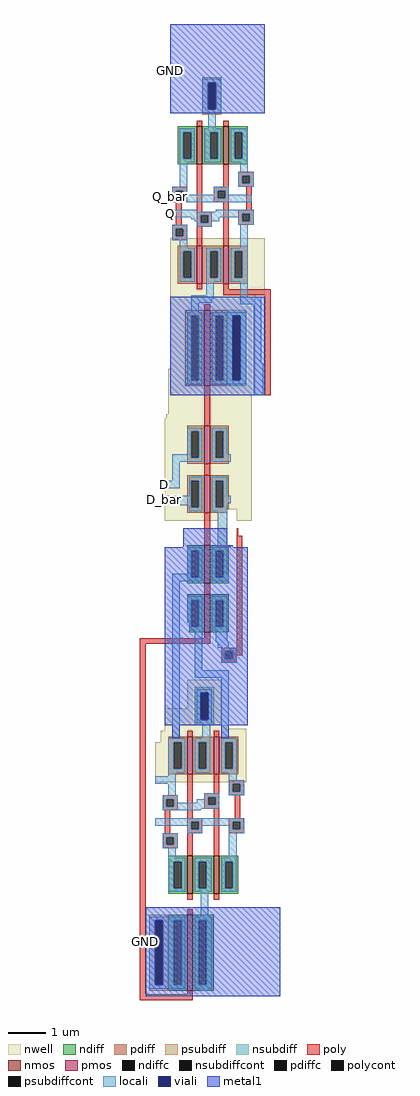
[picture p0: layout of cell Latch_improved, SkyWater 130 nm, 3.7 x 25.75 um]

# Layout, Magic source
magic
tech sky130A
<< nwell >>
rect -360 1450 -110 1600
rect -360 1255 -135 1450
rect -365 1185 -135 1255
rect -365 1135 -145 1185
rect -370 1125 -145 1135
rect -375 885 -145 1125
rect -375 855 -210 885
rect -185 855 -145 885
rect -235 785 -210 855
rect -315 360 -225 435
rect -375 315 -225 360
rect -375 305 -205 315
rect -375 300 -160 305
rect -385 270 -160 300
rect -400 165 -160 270
<< nmos >>
rect -290 1795 -275 1895
rect -220 1795 -205 1895
rect -270 690 -255 790
rect -270 560 -255 660
rect -315 -130 -300 -30
rect -245 -130 -230 -30
rect -315 -385 -300 -185
<< pmos >>
rect -290 1480 -275 1580
rect -220 1480 -205 1580
rect -270 1210 -255 1410
rect -270 1005 -255 1105
rect -270 875 -255 975
rect -315 185 -300 285
rect -245 185 -230 285
<< ndiff >>
rect -340 1880 -290 1895
rect -340 1810 -325 1880
rect -305 1810 -290 1880
rect -340 1795 -290 1810
rect -275 1880 -220 1895
rect -275 1810 -255 1880
rect -235 1810 -220 1880
rect -275 1795 -220 1810
rect -205 1880 -155 1895
rect -205 1810 -190 1880
rect -170 1810 -155 1880
rect -205 1795 -155 1810
rect -315 775 -270 790
rect -315 705 -305 775
rect -285 705 -270 775
rect -315 690 -270 705
rect -255 785 -235 790
rect -210 785 -205 790
rect -255 775 -205 785
rect -255 705 -240 775
rect -220 705 -205 775
rect -255 690 -205 705
rect -315 645 -270 660
rect -315 585 -305 645
rect -310 575 -305 585
rect -285 575 -270 645
rect -310 560 -270 575
rect -255 645 -205 660
rect -255 575 -240 645
rect -220 575 -205 645
rect -255 560 -205 575
rect -365 -45 -315 -30
rect -365 -115 -350 -45
rect -330 -115 -315 -45
rect -365 -130 -315 -115
rect -300 -45 -245 -30
rect -300 -115 -285 -45
rect -265 -115 -245 -45
rect -300 -130 -245 -115
rect -230 -45 -180 -30
rect -230 -115 -215 -45
rect -195 -115 -180 -45
rect -230 -130 -180 -115
rect -365 -200 -315 -185
rect -365 -370 -350 -200
rect -330 -370 -315 -200
rect -365 -385 -315 -370
rect -300 -200 -245 -185
rect -300 -370 -285 -200
rect -265 -370 -245 -200
rect -300 -385 -245 -370
<< pdiff >>
rect -340 1565 -290 1580
rect -340 1495 -325 1565
rect -305 1495 -290 1565
rect -340 1480 -290 1495
rect -275 1565 -220 1580
rect -275 1495 -255 1565
rect -235 1495 -220 1565
rect -275 1480 -220 1495
rect -205 1565 -155 1580
rect -205 1495 -190 1565
rect -170 1495 -155 1565
rect -205 1480 -155 1495
rect -320 1395 -270 1410
rect -320 1225 -305 1395
rect -285 1225 -270 1395
rect -320 1210 -270 1225
rect -255 1395 -210 1410
rect -255 1225 -240 1395
rect -220 1225 -210 1395
rect -255 1210 -210 1225
rect -315 1090 -270 1105
rect -315 1020 -305 1090
rect -285 1020 -270 1090
rect -315 1005 -270 1020
rect -255 1090 -205 1105
rect -255 1020 -240 1090
rect -220 1020 -205 1090
rect -255 1005 -205 1020
rect -315 960 -270 975
rect -315 890 -305 960
rect -285 890 -270 960
rect -315 875 -270 890
rect -255 960 -205 975
rect -255 890 -240 960
rect -220 890 -205 960
rect -255 885 -205 890
rect -255 875 -210 885
rect -235 785 -210 790
rect -365 270 -315 285
rect -365 200 -350 270
rect -330 200 -315 270
rect -365 185 -315 200
rect -300 270 -245 285
rect -300 200 -285 270
rect -265 200 -245 270
rect -300 185 -245 200
rect -230 270 -180 285
rect -230 200 -215 270
rect -195 200 -180 270
rect -230 185 -180 200
<< ndiffc >>
rect -325 1810 -305 1880
rect -255 1810 -235 1880
rect -190 1810 -170 1880
rect -305 705 -285 775
rect -240 705 -220 775
rect -305 575 -285 645
rect -240 575 -220 645
rect -350 -115 -330 -45
rect -285 -115 -265 -45
rect -215 -115 -195 -45
rect -350 -370 -330 -200
rect -285 -370 -265 -200
<< pdiffc >>
rect -325 1495 -305 1565
rect -255 1495 -235 1565
rect -190 1495 -170 1565
rect -305 1225 -285 1395
rect -240 1225 -220 1395
rect -305 1020 -285 1090
rect -240 1020 -220 1090
rect -305 890 -285 960
rect -240 890 -220 960
rect -350 200 -330 270
rect -285 200 -265 270
rect -215 200 -195 270
<< psubdiff >>
rect -275 2010 -225 2025
rect -275 1940 -260 2010
rect -240 1940 -225 2010
rect -275 1925 -225 1940
rect -415 -200 -365 -185
rect -415 -370 -400 -200
rect -380 -370 -365 -200
rect -415 -385 -365 -370
<< nsubdiff >>
rect -210 1395 -160 1410
rect -210 1225 -195 1395
rect -175 1225 -160 1395
rect -210 1210 -160 1225
rect -295 400 -245 415
rect -295 330 -280 400
rect -260 330 -245 400
rect -295 315 -245 330
<< psubdiffcont >>
rect -260 1940 -240 2010
rect -400 -370 -380 -200
<< nsubdiffcont >>
rect -195 1225 -175 1395
rect -280 330 -260 400
<< poly >>
rect -290 1895 -275 1910
rect -220 1895 -205 1910
rect -355 1725 -315 1735
rect -355 1705 -345 1725
rect -325 1705 -315 1725
rect -355 1695 -315 1705
rect -345 1635 -330 1695
rect -290 1670 -275 1795
rect -220 1735 -205 1795
rect -180 1765 -140 1775
rect -180 1745 -170 1765
rect -150 1745 -140 1765
rect -180 1735 -140 1745
rect -245 1725 -205 1735
rect -245 1705 -235 1725
rect -215 1705 -205 1725
rect -245 1695 -205 1705
rect -290 1660 -250 1670
rect -290 1640 -280 1660
rect -260 1640 -250 1660
rect -355 1625 -315 1635
rect -355 1605 -345 1625
rect -325 1605 -315 1625
rect -355 1595 -315 1605
rect -290 1630 -250 1640
rect -290 1580 -275 1630
rect -220 1580 -205 1695
rect -160 1675 -145 1735
rect -180 1665 -140 1675
rect -180 1645 -170 1665
rect -150 1645 -140 1665
rect -180 1635 -140 1645
rect -290 1465 -275 1480
rect -220 1465 -205 1480
rect -220 1450 -95 1465
rect -270 1410 -255 1425
rect -270 1105 -255 1210
rect -110 1185 -95 1450
rect -270 975 -255 1005
rect -270 790 -255 875
rect -185 815 -180 835
rect -270 660 -255 690
rect -270 545 -255 560
rect -440 530 -255 545
rect -440 -395 -425 530
rect -185 520 -170 815
rect -225 510 -170 520
rect -225 490 -215 510
rect -195 500 -170 510
rect -195 490 -185 500
rect -225 480 -185 490
rect -315 285 -300 300
rect -245 285 -230 300
rect -380 120 -340 130
rect -380 100 -370 120
rect -350 100 -340 120
rect -380 90 -340 100
rect -375 30 -360 90
rect -315 70 -300 185
rect -245 135 -230 185
rect -270 125 -230 135
rect -205 160 -165 170
rect -205 140 -195 160
rect -175 140 -165 160
rect -205 130 -165 140
rect -270 105 -260 125
rect -240 105 -230 125
rect -270 95 -230 105
rect -315 60 -275 70
rect -315 40 -305 60
rect -285 40 -275 60
rect -315 30 -275 40
rect -380 20 -340 30
rect -380 0 -370 20
rect -350 0 -340 20
rect -380 -10 -340 0
rect -315 -30 -300 30
rect -245 -30 -230 95
rect -190 70 -175 130
rect -205 60 -165 70
rect -205 40 -195 60
rect -175 40 -165 60
rect -205 30 -165 40
rect -315 -145 -300 -130
rect -245 -145 -230 -130
rect -315 -185 -300 -170
rect -315 -395 -300 -385
rect -440 -410 -300 -395
<< polycont >>
rect -345 1705 -325 1725
rect -170 1745 -150 1765
rect -235 1705 -215 1725
rect -280 1640 -260 1660
rect -345 1605 -325 1625
rect -170 1645 -150 1665
rect -215 490 -195 510
rect -370 100 -350 120
rect -195 140 -175 160
rect -260 105 -240 125
rect -305 40 -285 60
rect -370 0 -350 20
rect -195 40 -175 60
<< locali >>
rect -275 2010 -225 2020
rect -275 1940 -260 2010
rect -240 1940 -225 2010
rect -275 1930 -225 1940
rect -260 1890 -240 1930
rect -335 1880 -295 1890
rect -335 1810 -325 1880
rect -305 1810 -295 1880
rect -335 1800 -295 1810
rect -270 1880 -225 1890
rect -270 1810 -255 1880
rect -235 1810 -225 1880
rect -270 1800 -225 1810
rect -200 1880 -155 1890
rect -200 1810 -190 1880
rect -170 1810 -155 1880
rect -200 1800 -155 1810
rect -335 1735 -315 1800
rect -175 1775 -155 1800
rect -180 1765 -140 1775
rect -180 1745 -170 1765
rect -150 1745 -140 1765
rect -180 1735 -140 1745
rect -355 1725 -315 1735
rect -355 1720 -345 1725
rect -360 1705 -345 1720
rect -325 1715 -315 1725
rect -245 1725 -205 1735
rect -245 1715 -235 1725
rect -325 1705 -235 1715
rect -215 1715 -205 1725
rect -215 1705 -145 1715
rect -360 1695 -145 1705
rect -360 1670 -290 1675
rect -240 1670 -140 1675
rect -360 1665 -140 1670
rect -360 1660 -170 1665
rect -360 1655 -280 1660
rect -305 1650 -280 1655
rect -295 1645 -280 1650
rect -290 1640 -280 1645
rect -260 1655 -170 1660
rect -260 1645 -230 1655
rect -180 1645 -170 1655
rect -150 1645 -140 1665
rect -260 1640 -250 1645
rect -355 1625 -315 1635
rect -290 1630 -250 1640
rect -180 1635 -140 1645
rect -355 1605 -345 1625
rect -325 1605 -315 1625
rect -355 1595 -315 1605
rect -335 1575 -315 1595
rect -175 1575 -155 1635
rect -335 1565 -295 1575
rect -335 1495 -325 1565
rect -305 1495 -295 1565
rect -335 1485 -295 1495
rect -265 1565 -225 1575
rect -265 1495 -255 1565
rect -235 1495 -225 1565
rect -265 1485 -225 1495
rect -200 1565 -155 1575
rect -200 1495 -190 1565
rect -170 1495 -155 1565
rect -200 1485 -155 1495
rect -265 1450 -245 1485
rect -305 1440 -245 1450
rect -175 1445 -155 1485
rect -305 1430 -250 1440
rect -305 1405 -285 1430
rect -175 1425 -120 1445
rect -315 1395 -275 1405
rect -315 1225 -305 1395
rect -285 1225 -275 1395
rect -315 1215 -275 1225
rect -250 1395 -160 1405
rect -250 1225 -240 1395
rect -220 1225 -195 1395
rect -175 1225 -160 1395
rect -250 1215 -160 1225
rect -140 1270 -120 1425
rect -140 1185 -115 1270
rect -315 1090 -275 1100
rect -315 1030 -305 1090
rect -355 1020 -305 1030
rect -285 1020 -275 1090
rect -355 1010 -275 1020
rect -250 1090 -210 1100
rect -250 1020 -240 1090
rect -220 1030 -210 1090
rect -220 1020 -200 1030
rect -250 1010 -200 1020
rect -355 960 -335 1010
rect -375 940 -335 960
rect -310 960 -275 970
rect -310 920 -305 960
rect -375 900 -305 920
rect -335 895 -305 900
rect -310 890 -305 895
rect -285 890 -275 960
rect -310 880 -275 890
rect -250 960 -210 970
rect -250 890 -240 960
rect -220 920 -210 960
rect -220 900 -200 920
rect -220 890 -210 900
rect -250 880 -210 890
rect -235 790 -210 880
rect -235 785 -200 790
rect -315 775 -275 785
rect -315 715 -305 775
rect -355 705 -305 715
rect -285 705 -275 775
rect -355 695 -275 705
rect -250 775 -210 785
rect -250 705 -240 775
rect -220 715 -210 775
rect -220 705 -205 715
rect -250 695 -205 705
rect -355 280 -335 695
rect -315 645 -275 655
rect -315 585 -305 645
rect -310 575 -305 585
rect -285 575 -275 645
rect -310 565 -275 575
rect -250 645 -210 655
rect -250 575 -240 645
rect -220 575 -210 645
rect -250 565 -210 575
rect -295 460 -275 565
rect -240 535 -210 565
rect -235 520 -205 535
rect -225 510 -185 520
rect -225 490 -215 510
rect -195 490 -185 510
rect -225 480 -185 490
rect -295 440 -205 460
rect -290 400 -250 410
rect -290 330 -280 400
rect -260 330 -250 400
rect -290 320 -250 330
rect -275 280 -255 320
rect -365 270 -320 280
rect -365 200 -350 270
rect -330 200 -320 270
rect -365 190 -320 200
rect -295 270 -255 280
rect -295 200 -285 270
rect -265 200 -255 270
rect -295 190 -255 200
rect -225 280 -205 440
rect -225 270 -185 280
rect -225 200 -215 270
rect -195 200 -185 270
rect -225 190 -185 200
rect -365 180 -345 190
rect -400 160 -345 180
rect -365 130 -345 160
rect -205 170 -185 190
rect -205 160 -165 170
rect -205 140 -195 160
rect -175 140 -165 160
rect -380 120 -340 130
rect -270 125 -230 135
rect -205 130 -165 140
rect -270 120 -260 125
rect -380 100 -370 120
rect -350 110 -340 120
rect -290 110 -260 120
rect -350 105 -260 110
rect -240 105 -230 125
rect -350 100 -230 105
rect -380 95 -230 100
rect -380 90 -280 95
rect -400 60 -165 70
rect -400 50 -305 60
rect -315 40 -305 50
rect -285 50 -195 60
rect -285 40 -275 50
rect -315 30 -275 40
rect -205 40 -195 50
rect -175 40 -165 60
rect -205 30 -165 40
rect -380 20 -340 30
rect -380 0 -370 20
rect -350 0 -340 20
rect -380 -10 -340 0
rect -365 -35 -345 -10
rect -205 -35 -185 30
rect -365 -45 -320 -35
rect -365 -115 -350 -45
rect -330 -115 -320 -45
rect -365 -125 -320 -115
rect -295 -45 -250 -35
rect -295 -115 -285 -45
rect -265 -115 -250 -45
rect -295 -125 -250 -115
rect -225 -45 -185 -35
rect -225 -115 -215 -45
rect -195 -115 -185 -45
rect -225 -125 -185 -115
rect -280 -190 -260 -125
rect -415 -200 -320 -190
rect -415 -370 -400 -200
rect -380 -370 -350 -200
rect -330 -370 -320 -200
rect -415 -380 -320 -370
rect -295 -200 -250 -190
rect -295 -370 -285 -200
rect -265 -370 -250 -200
rect -295 -380 -250 -370
rect -280 -385 -260 -380
<< viali >>
rect -260 1940 -240 2010
rect -195 1225 -175 1395
rect -280 330 -260 400
rect -400 -370 -380 -200
<< metal1 >>
rect -360 2010 -110 2165
rect -360 1940 -260 2010
rect -240 1940 -110 2010
rect -360 1930 -110 1940
rect -360 1395 -110 1445
rect -360 1225 -195 1395
rect -175 1225 -110 1395
rect -360 1185 -110 1225
rect -325 790 -210 835
rect -325 785 -195 790
rect -375 400 -155 785
rect -375 330 -280 400
rect -260 330 -155 400
rect -375 315 -155 330
rect -355 280 -335 315
rect -225 280 -205 315
rect -425 -200 -70 -165
rect -425 -370 -400 -200
rect -380 -370 -70 -200
rect -425 -400 -70 -370
<< labels >>
rlabel locali -375 910 -375 910 7 D_bar
port 2 w
rlabel locali -375 950 -375 950 7 D
port 3 w
rlabel locali -360 1710 -360 1710 7 Q_bar
port 7 e
rlabel locali -360 1665 -360 1665 7 Q
port 6 e
rlabel metal1 -360 2040 -360 2045 7 GND
rlabel metal1 -425 -255 -425 -255 7 GND
port 1 w
<< end >>
